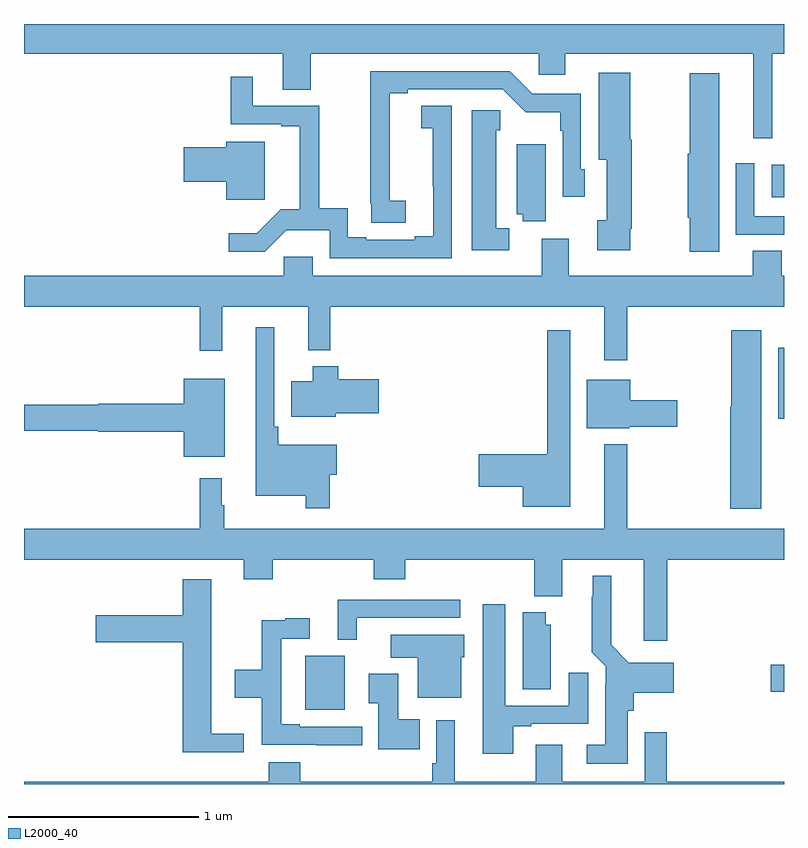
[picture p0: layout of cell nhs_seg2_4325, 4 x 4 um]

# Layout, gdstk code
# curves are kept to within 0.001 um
import gdstk
lib = gdstk.Library(unit=1e-6, precision=1e-09)
def R(c, l, rs):  # rectangles x0, y0, x1, y1
    for r in rs: c.add(gdstk.rectangle(r[:2], r[2:], *l))
def P(c, l, *ps):  # polygons
    for p in ps: c.add(gdstk.Polygon(p, *l))
L2000_40 = (2000, 40)

nhs_seg2_4325 = lib.new_cell('nhs_seg2_4325')
R(nhs_seg2_4325, L2000_40, [(346.481,636.191,346.687,636.475), (348.93,636.286,349,636.428), (348.969,637.722,349,638.097), (348.935,638.888,349,639.058)])
P(nhs_seg2_4325, L2000_40, [(348.938,639.644),(349,639.644),(349,639.8),(345,639.8),(345,639.644),(346.361,639.644),(346.361,639.454),(346.509,639.454),(346.509,639.644),(347.709,639.644),(347.709,639.534),(347.848,639.534),(347.848,639.644),(348.839,639.644),(348.839,639.198),(348.938,639.198)],
  [(347.008,638.87),(346.926,638.87),(346.924,639.436),(347.02,639.436),(347.02,639.456),(347.52,639.456),(347.641,639.335),(347.823,639.335),(347.823,639.239),(347.835,639.239),(347.835,638.892),(347.952,638.892),(347.952,639.036),(347.931,639.036),(347.931,639.432),(347.676,639.432),(347.556,639.552),(346.822,639.552),(346.822,638.857),(346.828,638.857),(346.828,638.755),(347.008,638.755)],
  [(348.19,638.722),(348.198,638.722),(348.198,639.19),(348.19,639.19),(348.19,639.544),(348.026,639.544),(348.026,639.086),(348.068,639.086),(348.068,638.766),(348.018,638.766),(348.018,638.61),(348.19,638.61)],
  [(348.658,639.541),(348.505,639.541),(348.505,639.117),(348.494,639.117),(348.494,638.781),(348.505,638.781),(348.505,638.601),(348.658,638.601)],
  [(347.25,639.371),(347.091,639.371),(347.091,639.251),(347.152,639.251),(347.153,638.684),(347.057,638.684),(347.057,638.664),(346.801,638.664),(346.801,638.678),(346.704,638.678),(346.704,638.831),(346.553,638.831),(346.553,639.369),(346.204,639.369),(346.204,639.523),(346.087,639.523),(346.087,639.273),(346.355,639.273),(346.355,639.261),(346.451,639.261),(346.451,638.824),(346.351,638.824),(346.225,638.698),(346.077,638.698),(346.077,638.601),(346.266,638.601),(346.379,638.714),(346.608,638.714),(346.608,638.568),(347.25,638.568)],
  [(347.554,638.724),(347.485,638.724),(347.485,639.24),(347.507,639.24),(347.507,639.346),(347.357,639.346),(347.357,638.609),(347.554,638.609)],
  [(346.267,639.181),(346.064,639.181),(346.064,639.152),(345.84,639.152),(345.84,638.969),(346.064,638.969),(346.064,638.876),(346.267,638.876)],
  [(347.746,639.166),(347.594,639.166),(347.594,638.798),(347.626,638.798),(347.626,638.761),(347.746,638.761)],
  [(349,638.787),(348.843,638.787),(348.843,639.067),(348.747,639.067),(348.747,638.691),(349,638.691)],
  [(348.175,638.312),(349,638.312),(349,638.476),(348.989,638.476),(348.989,638.606),(348.836,638.606),(348.836,638.476),(347.866,638.476),(347.866,638.671),(347.726,638.671),(347.726,638.476),(346.519,638.476),(346.519,638.574),(346.368,638.574),(346.368,638.476),(345,638.476),(345,638.312),(345.925,638.312),(345.925,638.079),(346.043,638.079),(346.043,638.312),(346.496,638.312),(346.496,638.084),(346.613,638.084),(346.613,638.312),(348.053,638.312),(348.053,638.031),(348.175,638.031)],
  [(346.61,637.427),(346.645,637.427),(346.645,637.585),(346.337,637.585),(346.337,637.681),(346.317,637.681),(346.317,638.203),(346.22,638.203),(346.22,637.316),(346.482,637.316),(346.482,637.251),(346.61,637.251)],
  [(347.875,638.188),(347.754,638.188),(347.754,637.535),(347.394,637.535),(347.394,637.364),(347.624,637.364),(347.624,637.259),(347.875,637.259)],
  [(348.88,638.188),(348.722,638.188),(348.722,637.785),(348.716,637.785),(348.716,637.248),(348.88,637.248)],
  [(346.642,637.751),(346.867,637.751),(346.867,637.929),(346.655,637.929),(346.655,637.999),(346.52,637.999),(346.52,637.921),(346.406,637.921),(346.406,637.733),(346.642,637.733)],
  [(346.057,637.933),(345.842,637.933),(345.842,637.802),(345.39,637.802),(345.39,637.796),(345,637.796),(345,637.66),(345.39,637.66),(345.39,637.655),(345.842,637.655),(345.842,637.523),(346.057,637.523)],
  [(348.186,637.679),(348.439,637.679),(348.439,637.821),(348.19,637.821),(348.19,637.927),(347.963,637.927),(347.963,637.673),(348.186,637.673)],
  [(348.386,636.98),(349,636.98),(349,637.144),(348.175,637.144),(348.175,637.588),(348.053,637.588),(348.053,637.144),(346.054,637.144),(346.054,637.268),(346.042,637.268),(346.042,637.408),(345.925,637.408),(345.925,637.144),(345,637.144),(345,636.98),(346.157,636.98),(346.157,636.878),(346.31,636.878),(346.31,636.98),(346.841,636.98),(346.841,636.878),(347.006,636.878),(347.006,636.98),(347.686,636.98),(347.686,636.788),(347.833,636.788),(347.833,636.98),(348.263,636.98),(348.263,636.555),(348.386,636.555)],
  [(348.178,636.186),(348.209,636.186),(348.209,636.281),(348.421,636.281),(348.421,636.439),(348.183,636.439),(348.091,636.532),(348.091,636.895),(347.993,636.895),(347.993,636.785),(347.989,636.785),(347.989,636.494),(348.063,636.42),(348.063,636.326),(348.059,636.326),(348.059,636.007),(347.961,636.007),(347.961,635.906),(348.178,635.906)],
  [(346.156,636.065),(345.985,636.065),(345.985,636.877),(345.836,636.877),(345.836,636.687),(345.378,636.687),(345.378,636.545),(345.836,636.545),(345.836,635.966),(346.156,635.966)],
  [(346.75,636.675),(347.296,636.675),(347.296,636.771),(346.652,636.771),(346.652,636.56),(346.75,636.56)],
  [(347.575,636.105),(347.671,636.105),(347.671,636.117),(347.971,636.117),(347.971,636.385),(347.867,636.385),(347.867,636.213),(347.533,636.213),(347.533,636.745),(347.414,636.745),(347.414,635.958),(347.575,635.958)],
  [(347.773,636.639),(347.746,636.639),(347.746,636.703),(347.624,636.703),(347.624,636.298),(347.773,636.298)],
  [(346.78,636.102),(346.45,636.102),(346.45,636.115),(346.353,636.115),(346.353,636.564),(346.504,636.564),(346.504,636.673),(346.376,636.673),(346.376,636.662),(346.252,636.662),(346.252,636.402),(346.11,636.402),(346.11,636.254),(346.252,636.254),(346.252,636.006),(346.537,636.006),(346.537,636.005),(346.78,636.005)],
  [(347.302,636.468),(347.317,636.468),(347.317,636.586),(346.929,636.586),(346.929,636.464),(347.072,636.464),(347.072,636.254),(347.302,636.254)],
  [(347.084,636.142),(346.969,636.142),(346.969,636.379),(346.815,636.379),(346.815,636.226),(346.865,636.226),(346.865,635.984),(347.084,635.984)],
  [(348.383,636.073),(348.267,636.073),(348.267,635.812),(347.833,635.812),(347.833,636.007),(347.693,636.007),(347.693,635.812),(347.266,635.812),(347.266,636.136),(347.169,636.136),(347.169,635.908),(347.149,635.908),(347.149,635.812),(346.454,635.812),(346.454,635.914),(346.289,635.914),(346.289,635.812),(345,635.812),(345,635.8),(349,635.8),(349,635.812),(348.383,635.812)])

lib.write_gds('nhs_seg2_4325.gds')
